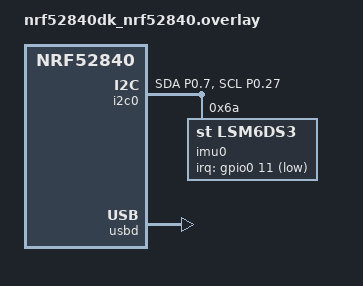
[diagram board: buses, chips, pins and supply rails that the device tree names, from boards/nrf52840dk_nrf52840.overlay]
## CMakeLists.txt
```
# SPDX-License-Identifier: Apache-2.0

cmake_minimum_required(VERSION 3.20.0)

list(APPEND ZEPHYR_EXTRA_MODULES ${CMAKE_CURRENT_SOURCE_DIR}/modules)

find_package(Zephyr REQUIRED HINTS $ENV{ZEPHYR_BASE})
project(lsm6ds3_test)

target_sources(app PRIVATE 
    src/main.c
    src/imu.c
)
```

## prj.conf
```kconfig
CONFIG_LOG=y
# CONFIG_LOG_DEFAULT_LEVEL=4
CONFIG_LOG_PRINTK=y
CONFIG_USE_SEGGER_RTT=y
CONFIG_CBPRINTF_FP_SUPPORT=y

CONFIG_BT=y
CONFIG_BT_DEVICE_NAME="accl"
CONFIG_BT_PERIPHERAL=y

# CONFIG_BT_CTLR_ADVANCED_FEATURES=y
CONFIG_BT_CTLR_CONN_RSSI=y
# CONFIG_BT_CTLR_TX_PWR_DYNAMIC_CONTROL=y

CONFIG_I2C=y
CONFIG_SENSOR=y
CONFIG_LSM6DS3=y
CONFIG_LSM6DS3_TRIGGER_GLOBAL_THREAD=y
CONFIG_LSM6DS3_GPIO_ENABLE=y

CONFIG_SERIAL=y
CONFIG_USB_DEVICE_PRODUCT="lsm6ds3_test_debug"
CONFIG_USB_DEVICE_STACK=y
CONFIG_USB_CDC_ACM=y
CONFIG_USB_DEVICE_INITIALIZE_AT_BOOT=y
```

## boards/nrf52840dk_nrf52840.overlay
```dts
/{
    chosen{
		zephyr,console = &usb_cdc_acm_uart;
		zephyr,shell-uart = &usb_cdc_acm_uart;
		zephyr,uart-mcumgr = &usb_cdc_acm_uart;
		zephyr,bt-mon-uart = &usb_cdc_acm_uart;
		zephyr,bt-c2h-uart = &usb_cdc_acm_uart;
    };
};

&pinctrl {
    lsm6ds3_default: i2c_internal_default{
        group1{
            psels = < NRF_PSEL(TWIM_SDA, 0, 7) >,
                    < NRF_PSEL(TWIM_SCL, 0, 27)>;
        };
    };

    lsm6ds3_sleep: i2c_internal_sleep{
        group1{
            psels = < NRF_PSEL(TWIM_SDA, 0, 7) >,
                    < NRF_PSEL(TWIM_SCL, 0, 27)>;
                    low-power-enable;
        };
    };
};


&i2c0 {
    status = "okay";
    pinctrl-0 = < &lsm6ds3_default >;
    pinctrl-1 = < &lsm6ds3_sleep >;
    pinctrl-names = "default", "sleep";

    imu0:lsm6ds3@6a{
        status = "okay";
        compatible = "st,lsm6ds3";
        reg = < 0x6a >;
        irq-gpios = <&gpio0 11 (GPIO_ACTIVE_LOW | GPIO_PULL_UP)>; 
    };
};

&gpio0 {
    status = "okay";
};

&uart0 {
    status = "disabled";
};


zephyr_udc0: &usbd {
    compatible = "nordic,nrf-usbd";
    status = "okay";
    usb_cdc_acm_uart:cdc_acm_uart0 {
        compatible = "zephyr,cdc-acm-uart";
        
    };
};
```

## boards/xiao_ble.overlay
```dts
/{
    chosen{
		zephyr,console = &usb_cdc_acm_uart;
		zephyr,shell-uart = &usb_cdc_acm_uart;
		zephyr,uart-mcumgr = &usb_cdc_acm_uart;
		zephyr,bt-mon-uart = &usb_cdc_acm_uart;
		zephyr,bt-c2h-uart = &usb_cdc_acm_uart;
    };
};

&pinctrl {
    lsm6ds3_default: i2c_internal_default{
        group1{
            psels = < NRF_PSEL(TWIM_SDA, 0, 7) >,
                    < NRF_PSEL(TWIM_SCL, 0, 27)>;
        };
    };

    lsm6ds3_sleep: i2c_internal_sleep{
        group1{
            psels = < NRF_PSEL(TWIM_SDA, 0, 7) >,
                    < NRF_PSEL(TWIM_SCL, 0, 27)>;
                    low-power-enable;
        };
    };
};


&i2c0 {
    status = "okay";
    pinctrl-0 = < &lsm6ds3_default >;
    pinctrl-1 = < &lsm6ds3_sleep >;
    pinctrl-names = "default", "sleep";

    imu0:lsm6ds3@6a{
        status = "okay";
        compatible = "st,lsm6ds3";
        reg = < 0x6a >;
        irq-gpios = <&gpio0 11 (GPIO_ACTIVE_LOW | GPIO_PULL_UP)>; 
    };
};

&gpio0 {
    status = "okay";
};

// zephyr_udc0: &usbd {
//     compatible = "nordic,nrf-usbd";
//     status = "okay";
//     usb_cdc_acm_uart:cdc_acm_uart0 {
//         compatible = "zephyr,cdc-acm-uart";
        
//     };
// };
```

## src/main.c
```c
/*
 * Copyright (c) 2012-2014 Wind River Systems, Inc.
 *
 * SPDX-License-Identifier: Apache-2.0
 */

#include <zephyr/kernel.h>

#include <zephyr/sys/util.h>
#include <zephyr/sys/byteorder.h>

#include <zephyr/bluetooth/hci.h>
#include <zephyr/bluetooth/hci_vs.h>

#include <zephyr/bluetooth/bluetooth.h>
#include <zephyr/bluetooth/uuid.h>
#include <zephyr/bluetooth/gatt.h>

#include <zephyr/logging/log.h>

#include "imu.h"

LOG_MODULE_REGISTER(MAIN, LOG_LEVEL_DBG);

#define ACCL_SERVICE_UUID_VAL		BT_UUID_128_ENCODE(0xADAF0200, 0xC332, 0x42A8, 0x93BD, 0x25E905756CB8)
#define MEASURE_PERIOD_UUID_VAL		BT_UUID_128_ENCODE(0xADAF0001, 0xC332, 0x42A8, 0x93BD, 0x25E905756CB8)
#define ACCELERATION_UUID_VAL		BT_UUID_128_ENCODE(0xADAF0201, 0xC332, 0x42A8, 0x93BD, 0x25E905756CB8)

#define RSSI_SERVICE_UUID_VAL		BT_UUID_128_ENCODE(0xADAFF000, 0xC332, 0x42A8, 0x93BD, 0x25E905756CB8)
#define RSSI_CHRC_UUID_VAL			BT_UUID_128_ENCODE(0xADAFF001, 0xC332, 0x42A8, 0x93BD, 0x25E905756CB8)

struct bt_conn *default_conn;
bool accl_notifications_enabled = false, rssi_notifications_enabled = false;

float last_accl_values[3];
int32_t measure_period_ms = 1000;
int8_t last_rssi = 127;

static ssize_t accl_read_cb(struct bt_conn *conn, const struct bt_gatt_attr *attr, void *buf, uint16_t len, uint16_t offset)
{
	LOG_DBG("Accl read");
	return bt_gatt_attr_read(conn, attr, buf, len, offset, last_accl_values, sizeof(last_accl_values));
}

static ssize_t measure_period_read_cb(struct bt_conn *conn, const struct bt_gatt_attr *attr, void *buf, uint16_t len, uint16_t offset)
{
	LOG_DBG("Measure period read");
	return bt_gatt_attr_read(conn, attr, buf, len, offset, &measure_period_ms, sizeof(measure_period_ms));
}

static ssize_t measure_period_write_cb(struct bt_conn *conn, const struct bt_gatt_attr *attr, const void *buf, uint16_t len, uint16_t offset, uint8_t flags)
{
	if(len != sizeof(measure_period_ms)){
		return BT_GATT_ERR(BT_ATT_ERR_INVALID_ATTRIBUTE_LEN);
	}

	memcpy(&measure_period_ms, buf, sizeof(measure_period_ms));
	LOG_DBG("Measure period write, value %d", measure_period_ms);
	return len;
}

static ssize_t rssi_read_cb(struct bt_conn *conn, const struct bt_gatt_attr *attr, void *buf, uint16_t len, uint16_t offset)
{
	LOG_DBG("RSSI read");
	return bt_gatt_attr_read(conn, attr, buf, len, offset, &last_rssi, sizeof(last_rssi));
}

static void accl_ccc_changed_cb(const struct bt_gatt_attr *attr, uint16_t value)
{
	if(value & BT_GATT_CCC_NOTIFY){
		LOG_INF("Accl Notifications enabled");
		accl_notifications_enabled = true;
	}
	else{
		accl_notifications_enabled = false;
	}
}

static void rssi_ccc_changed_cb(const struct bt_gatt_attr *attr, uint16_t value)
{
	if(value & BT_GATT_CCC_NOTIFY){
		LOG_INF("RSSI Notifications enabled");
		rssi_notifications_enabled = true;
	}
	else{
		rssi_notifications_enabled = false;
	}	
}

BT_GATT_SERVICE_DEFINE(
	accl_service,
	BT_GATT_PRIMARY_SERVICE(BT_UUID_DECLARE_128(ACCL_SERVICE_UUID_VAL)),
	BT_GATT_CHARACTERISTIC(BT_UUID_DECLARE_128(ACCELERATION_UUID_VAL), 
							BT_GATT_CHRC_READ | BT_GATT_CHRC_NOTIFY,
							BT_GATT_PERM_READ, accl_read_cb, NULL, NULL),
	BT_GATT_CCC(accl_ccc_changed_cb, BT_GATT_PERM_WRITE | BT_GATT_PERM_READ),
	BT_GATT_CHARACTERISTIC(BT_UUID_DECLARE_128(MEASURE_PERIOD_UUID_VAL), 
							BT_GATT_CHRC_READ | BT_GATT_CHRC_WRITE,
							BT_GATT_PERM_READ | BT_GATT_PERM_WRITE, measure_period_read_cb, measure_period_write_cb, &measure_period_ms),
);

BT_GATT_SERVICE_DEFINE(
	rssi_service,
	BT_GATT_PRIMARY_SERVICE(BT_UUID_DECLARE_128(RSSI_SERVICE_UUID_VAL)),
	BT_GATT_CHARACTERISTIC(BT_UUID_DECLARE_128(RSSI_CHRC_UUID_VAL), 
							BT_GATT_CHRC_READ | BT_GATT_CHRC_NOTIFY,
							BT_GATT_PERM_READ, rssi_read_cb, NULL, &last_rssi),
	BT_GATT_CCC(rssi_ccc_changed_cb, BT_GATT_PERM_WRITE | BT_GATT_PERM_READ),
);

struct bt_data adv_data[] = {
	BT_DATA(BT_DATA_UUID128_ALL, BT_UUID_DECLARE_128(ACCL_SERVICE_UUID_VAL), BT_UUID_SIZE_128),
};

static int start_advertisement()
{
	int err = 0;

	err = bt_le_adv_start(BT_LE_ADV_CONN_NAME, adv_data, ARRAY_SIZE(adv_data), NULL, 0);
	if(err){
		printk("Adv start fail(err %d)", err);
		return err;
	}

	printk("Advertisement started!");

	return 0;
}

static void get_rssi(int8_t *rssi)
{
	uint16_t conn_handle = 0;
	int err = 0;

	struct net_buf *buf, *resp = NULL;
	struct bt_hci_cp_read_rssi *cp;
	struct bt_hci_rp_read_rssi *rp;

	if(default_conn == NULL){
		printk("No BLE connection");
	}
	else{
		err = bt_hci_get_conn_handle(default_conn, &conn_handle);
		if(err){
			printk("Conn handle get fail (err %d)", err);
			return;
		}

		// printk("Conn handle: %d", conn_handle);

		buf = bt_hci_cmd_create(BT_HCI_OP_READ_RSSI, sizeof(*cp));
		if(buf == NULL){
			printk("Unable to allocate command buffer");
			return;
		}

		cp = net_buf_add(buf, sizeof(*cp));
		cp->handle = sys_cpu_to_le16(conn_handle);

		err = bt_hci_cmd_send_sync(BT_HCI_OP_READ_RSSI, buf, &resp);
		if(err){
			printk("Read RSSI fail");
			return;
		}

		rp = (void *)resp->data;
		*rssi = rp->rssi;

		net_buf_unref(resp);
	}
}

static void ble_connected(struct bt_conn *conn, uint8_t err)
{
	if(err){
		LOG_WRN("Connection error %d", err);
		bt_conn_unref(conn);
		default_conn = NULL;
		return;
	}

	LOG_INF("BLE connected");
	default_conn = bt_conn_ref(conn);
}

static void ble_disconnected(struct bt_conn *conn, uint8_t reason)
{
	LOG_INF("BLE disconnected, reason %d", reason);
	bt_conn_unref(default_conn);
	default_conn = NULL;

	start_advertisement();
}

static struct bt_conn_cb conn_cbs = {
	.connected = ble_connected,
	.disconnected = ble_disconnected
};

void main(void)
{
	if(bt_enable(NULL) != 0){
		return;
	}

	bt_conn_cb_register(&conn_cbs);

	if(start_advertisement() != 0){
		return;
	}

	if(imu_init(12.5) != 0){
		// return;
	}

	while(1){
		if(measure_period_ms > 0){
			k_sleep(K_MSEC(measure_period_ms));
		}
		else{
			k_sleep(K_FOREVER);
		}

		if(default_conn){
			get_rssi(&last_rssi);
			if(fetch_imu_accl(&last_accl_values[0], &last_accl_values[1], &last_accl_values[2]) == 0){
				if(accl_notifications_enabled){
					if(bt_gatt_notify(default_conn, &accl_service.attrs[1], last_accl_values, sizeof(last_accl_values)) != 0){
						LOG_WRN("Accl notification fail");
					}
				}

				if(rssi_notifications_enabled){
					if(bt_gatt_notify(default_conn, &rssi_service.attrs[1], &last_rssi, sizeof(last_rssi)) != 0){
						LOG_WRN("rssi notification fail");
					}					
				}
			}
		}
	}
}
```

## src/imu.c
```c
#include "imu.h"

#include <zephyr/kernel.h>
#include <zephyr/device.h>
#include <zephyr/drivers/sensor.h>

#include <zephyr/logging/log.h>

LOG_MODULE_REGISTER(SENSOR, LOG_LEVEL_DBG);

#define IMU_NODE        DT_NODELABEL(imu0)

const struct device *imu_device = DEVICE_DT_GET(IMU_NODE);

struct sensor_value accl_x, accl_y, accl_z;
struct sensor_value gyro_x, gyro_y, gyro_z;

static int get_accl()
{
    if(sensor_sample_fetch_chan(imu_device, SENSOR_CHAN_ACCEL_XYZ) < 0){
        LOG_WRN("Sensor accl fetch fail");
        return -EIO;
    }

    if(sensor_channel_get(imu_device, SENSOR_CHAN_ACCEL_X, &accl_x) < 0){
        LOG_WRN("get X acceleration fail");
        return -EINVAL;
    }

    if(sensor_channel_get(imu_device, SENSOR_CHAN_ACCEL_Y, &accl_y) < 0){
        LOG_WRN("get Y acceleration fail");
        return -EINVAL;
    }

    if(sensor_channel_get(imu_device, SENSOR_CHAN_ACCEL_Z, &accl_z) < 0){
        LOG_WRN("get Z acceleration fail");
        return -EINVAL;
    }

    return 0;
}

#if (CONFIG_LSM6DS3_TRIGGER)

static void lsm6ds3_trigger_handler(const struct device *dev, const struct sensor_trigger *trig)
{
    if(get_accl() < 0){
        LOG_WRN("Accel data fetch fail");
        return;
    }

    LOG_DBG("Get accel trigger, x:%f y:%f z:%f", sensor_value_to_double(&accl_x), sensor_value_to_double(&accl_y), sensor_value_to_double(&accl_z));
}

#endif

int imu_init(double odr)
{
    if(!(device_is_ready(imu_device))){
        LOG_WRN("IMU device not ready");
        return -ENODEV;
    }

    #if (CONFIG_LSM6DS3_ACCL_ODR == 0)
    struct sensor_value odr_attr;
    sensor_value_from_double(&odr_attr, odr);

    if(sensor_attr_set(imu_device, SENSOR_CHAN_ACCEL_XYZ, SENSOR_ATTR_SAMPLING_FREQUENCY, &odr_attr) < 0){
        LOG_WRN("Set sampling frequency fail");
        return -EINVAL;
    }
    #else
    ARG_UNUSED(odr);
    #endif

    #if (CONFIG_LSM6DS3_TRIGGER)
   
    struct sensor_trigger trig = {
        .type = SENSOR_TRIG_DATA_READY,
        .chan = SENSOR_CHAN_ACCEL_XYZ
    };

    if(sensor_trigger_set(imu_device, &trig, lsm6ds3_trigger_handler) < 0){
        LOG_WRN("Data ready trigger set fail");
        return -EIO;
    }

    #endif

    return 0;
}

int fetch_imu_accl(float *x, float *y, float *z)
{
    #if (!CONFIG_LSM6DS3_TRIGGER)

    get_accl();

    LOG_DBG("Sample get complete x=%d.%d, y=%d.%d, z=%d.%d", accl_x.val1, accl_x.val2, accl_y.val1, accl_y.val2, accl_z.val1, accl_z.val2);

    #endif

    *x = (float)sensor_value_to_double(&accl_x);
    *y = (float)sensor_value_to_double(&accl_y);
    *z = (float)sensor_value_to_double(&accl_z);

    return 0;
}
```

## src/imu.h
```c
#ifndef IMU_H
#define IMU_H

#include <stdint.h>

int imu_init(double odr);
int fetch_imu_accl(float *x, float *y, float *z);

#endif
```
